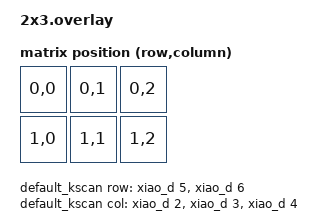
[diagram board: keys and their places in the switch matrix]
#include <dt-bindings/zmk/matrix_transform.h>

/ {
    chosen {
        zmk,kscan = &default_kscan;
        // zmk,matrix_transform = &default_transform;
        zmk,physical-layout = &physical_layout0;
    };

    default_kscan: kscan0 {
        compatible = "zmk,kscan-gpio-matrix";
        label = "default_kcan";
        diode-drrection = "col2row";

        row-gpios 
            =   <&xiao_d 5 (GPIO_ACTIVE_HIGH | GPIO_PULL_DOWN)>,
                <&xiao_d 6 (GPIO_ACTIVE_HIGH | GPIO_PULL_DOWN)>;
        
        col-gpios
            =   <&xiao_d 2 GPIO_ACTIVE_HIGH>,
                <&xiao_d 3 GPIO_ACTIVE_HIGH>,
                <&xiao_d 4 GPIO_ACTIVE_HIGH>;
    };

    default_transform: matrix_transform {
        compatible = "zmk,matrix-transform";
        rows = <2>;
        col = <3>;
        map = <
                RC(0,0) RC(0,1) RC(0,2)
                RC(1,0) RC(1,1) RC(1,2)
        >;
    };

    physical_layout0: physical_layout_0 { // First physical layout, use different naming for other layouts
        compatible = "zmk,physical-layout";
        display-name = "Default Layout";
        kscan = <&default_kscan>; // Label of the kscan node, optional if all layouts use the same
        transform = <&default_transform>; // Label of the matrix transform for this layout
    };

};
